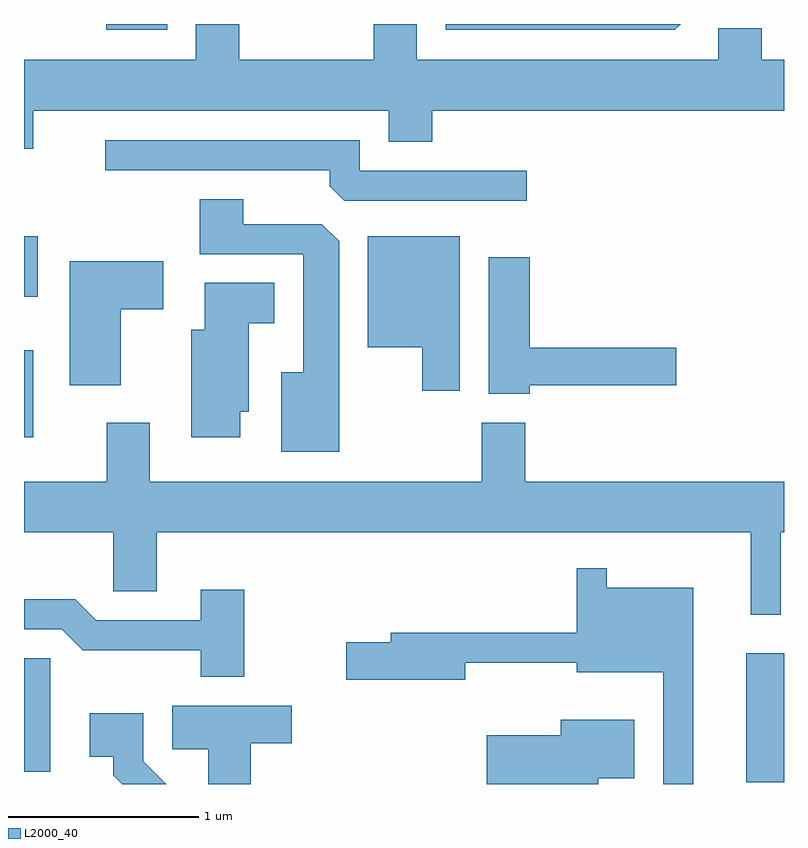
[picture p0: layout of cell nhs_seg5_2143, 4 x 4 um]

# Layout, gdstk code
import gdstk
lib = gdstk.Library(unit=1e-6, precision=1e-09)
def R(c, l, rs):  # rectangles x0, y0, x1, y1
    for r in rs: c.add(gdstk.rectangle(r[:2], r[2:], *l))
def P(c, l, *ps):  # polygons
    for p in ps: c.add(gdstk.Polygon(p, *l))
L2000_40 = (2000, 40)

nhs_seg5_2143 = lib.new_cell('nhs_seg5_2143')
R(nhs_seg5_2143, L2000_40, [(251.411,1522.081,251.611,1522.759), (247.611,1522.136,247.749,1522.734), (247.611,1523.896,247.659,1524.354), (247.611,1524.636,247.684,1524.954), (248.043,1526.041,248.364,1526.072)])
P(nhs_seg5_2143, L2000_40, [(247.659,1525.616),(249.531,1525.616),(249.531,1525.451),(249.759,1525.451),(249.759,1525.616),(251.611,1525.616),(251.611,1525.884),(251.494,1525.884),(251.494,1526.049),(251.266,1526.049),(251.266,1525.884),(249.679,1525.884),(249.679,1526.072),(249.451,1526.072),(249.451,1525.884),(248.744,1525.884),(248.744,1526.072),(248.516,1526.072),(248.516,1525.884),(247.611,1525.884),(247.611,1525.416),(247.659,1525.416)],
  [(251.068,1526.072),(249.831,1526.072),(249.831,1526.041),(251.037,1526.041)],
  [(250.258,1525.299),(249.379,1525.299),(249.379,1525.459),(248.038,1525.459),(248.038,1525.301),(249.221,1525.301),(249.221,1525.217),(249.297,1525.141),(250.258,1525.141)],
  [(249.269,1524.929),(249.179,1525.019),(248.764,1525.019),(248.764,1525.149),(248.536,1525.149),(248.536,1524.861),(249.081,1524.861),(249.081,1524.239),(248.966,1524.239),(248.966,1523.821),(249.269,1523.821)],
  [(249.904,1524.954),(249.421,1524.954),(249.421,1524.371),(249.706,1524.371),(249.706,1524.141),(249.904,1524.141)],
  [(250.274,1524.171),(251.044,1524.171),(251.044,1524.369),(250.274,1524.369),(250.274,1524.844),(250.056,1524.844),(250.056,1524.126),(250.274,1524.126)],
  [(248.119,1524.571),(248.344,1524.571),(248.344,1524.824),(247.851,1524.824),(247.851,1524.171),(248.119,1524.171)],
  [(248.749,1524.031),(248.794,1524.031),(248.794,1524.496),(248.929,1524.496),(248.929,1524.709),(248.561,1524.709),(248.561,1524.464),(248.491,1524.464),(248.491,1523.896),(248.749,1523.896)],
  [(251.594,1523.396),(251.611,1523.396),(251.611,1523.664),(250.249,1523.664),(250.249,1523.974),(250.021,1523.974),(250.021,1523.664),(248.274,1523.664),(248.274,1523.974),(248.046,1523.974),(248.046,1523.664),(247.611,1523.664),(247.611,1523.396),(248.081,1523.396),(248.081,1523.086),(248.309,1523.086),(248.309,1523.396),(251.436,1523.396),(251.436,1522.963),(251.594,1522.963)],
  [(251.134,1523.104),(250.679,1523.104),(250.679,1523.208),(250.521,1523.208),(250.521,1522.869),(249.541,1522.869),(249.541,1522.819),(249.306,1522.819),(249.306,1522.621),(249.934,1522.621),(249.934,1522.711),(250.521,1522.711),(250.521,1522.661),(250.976,1522.661),(250.976,1522.072),(251.134,1522.072)],
  [(248.769,1523.094),(248.541,1523.094),(248.541,1522.934),(247.992,1522.934),(247.882,1523.044),(247.611,1523.044),(247.611,1522.886),(247.809,1522.886),(247.919,1522.776),(248.541,1522.776),(248.541,1522.636),(248.769,1522.636)],
  [(248.804,1522.286),(249.019,1522.286),(249.019,1522.484),(248.391,1522.484),(248.391,1522.256),(248.581,1522.256),(248.581,1522.072),(248.804,1522.072)],
  [(248.239,1522.192),(248.239,1522.444),(247.956,1522.444),(247.956,1522.216),(248.081,1522.216),(248.081,1522.119),(248.128,1522.072),(248.359,1522.072)],
  [(250.634,1522.101),(250.824,1522.101),(250.824,1522.409),(250.436,1522.409),(250.436,1522.329),(250.046,1522.329),(250.046,1522.072),(250.634,1522.072)])

lib.write_gds('nhs_seg5_2143.gds')
